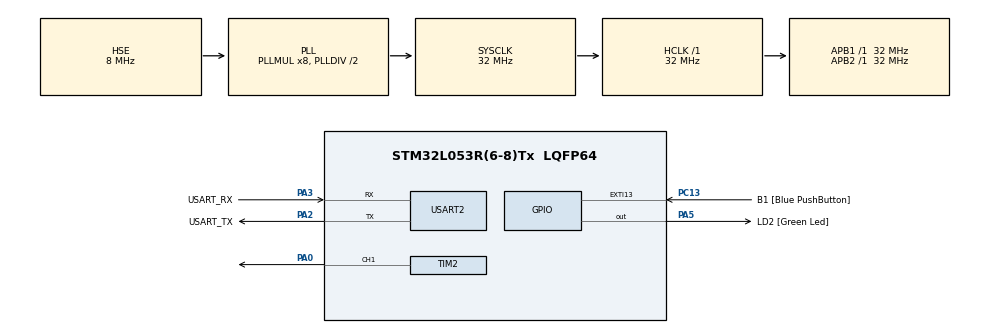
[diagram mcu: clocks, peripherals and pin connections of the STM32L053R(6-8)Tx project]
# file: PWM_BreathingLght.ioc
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Mcu.Family=STM32L0
Mcu.Name=STM32L053R(6-8)Tx
Mcu.Package=LQFP64
PA0.Signal=S_TIM2_CH1
PA13.GPIO_Label=TMS
PA13.Mode=Serial_Wire
PA13.Signal=SYS_SWDIO
PA14.GPIO_Label=TCK
PA14.Mode=Serial_Wire
PA14.Signal=SYS_SWCLK
PA2.GPIO_Label=USART_TX
PA2.Mode=Asynchronous
PA2.Signal=USART2_TX
PA3.GPIO_Label=USART_RX
PA3.Mode=Asynchronous
PA3.Signal=USART2_RX
PA5.GPIO_Label=LD2 [Green Led]
PA5.Signal=GPIO_Output
PC13.GPIO_Label=B1 [Blue PushButton]
PC13.GPIO_ModeDefaultEXTI=GPIO_MODE_IT_FALLING
PC13.Signal=GPXTI13
PC14-OSC32_IN.Signal=RCC_OSC32_IN
PC15-OSC32_OUT.Signal=RCC_OSC32_OUT
PH0-OSC_IN.Mode=HSE-External-Oscillator
PH0-OSC_IN.Signal=RCC_OSC_IN
PH1-OSC_OUT.Mode=HSE-External-Oscillator
PH1-OSC_OUT.Signal=RCC_OSC_OUT
ProjectManager.HeapSize=0x200
ProjectManager.StackSize=0x400
ProjectManager.TargetToolchain=MDK-ARM V5.32
RCC.AHBFreq_Value=32000000
RCC.APB1Freq_Value=32000000
RCC.APB1TimFreq_Value=32000000
RCC.APB2Freq_Value=32000000
RCC.APB2TimFreq_Value=32000000
RCC.HCLKFreq_Value=32000000
RCC.HSE_VALUE=8000000
RCC.HSI16_VALUE=16000000
RCC.HSI48_VALUE=48000000
RCC.HSI_VALUE=16000000
RCC.MSI_VALUE=2097000
RCC.PLLMUL=RCC_PLLMUL_8
RCC.PLLSourceVirtual=RCC_PLLSOURCE_HSE
RCC.SYSCLKFreq_VALUE=32000000
RCC.SYSCLKSource=RCC_SYSCLKSOURCE_PLLCLK
RCC.VCOOutputFreq_Value=64000000
SH.S_TIM2_CH1.0=TIM2_CH1,PWM Generation1 CH1
TIM2.Channel-PWM\ Generation1\ CH1=TIM_CHANNEL_1
TIM2.OC1Preload_PWM=ENABLE
TIM2.Period=1000-1
TIM2.Prescaler=32-1
TIM2.Pulse-PWM\ Generation1\ CH1=0
USART2.VirtualMode-Asynchronous=VM_ASYNC
VP_TIM2_VS_ClockSourceINT.Mode=Internal
board=NUCLEO-L053R8

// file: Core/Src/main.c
/* USER CODE BEGIN Header */
/**
  ******************************************************************************
  * @file           : main.c
  * @brief          : Main program body
  ******************************************************************************
  * @attention
  *
  * Copyright (c) 2023 STMicroelectronics.
  * All rights reserved.
  *
  * This software is licensed under terms that can be found in the LICENSE file
  * in the root directory of this software component.
  * If no LICENSE file comes with this software, it is provided AS-IS.
  *
  ******************************************************************************
  */
/* USER CODE END Header */
#include "main.h"

/* USER CODE BEGIN Includes */
#include "beep.h"
/* USER CODE END Includes */

TIM_HandleTypeDef htim2;

UART_HandleTypeDef huart2;

void SystemClock_Config(void);
static void MX_GPIO_Init(void);
static void MX_USART2_UART_Init(void);
static void MX_TIM2_Init(void);

int main(void)
{

  /* MCU Configuration--------------------------------------------------------*/

  /* Reset of all peripherals, Initializes the Flash interface and the Systick. */
  HAL_Init();

  /* Configure the system clock */
  SystemClock_Config();

  /* Initialize all configured peripherals */
  MX_GPIO_Init();
  MX_USART2_UART_Init();
  MX_TIM2_Init();
  /* USER CODE BEGIN 2 */

	 enum{
		DO = 262,
		RE = 294,
		MI = 330,
		FA = 349,
		SO = 392,
		LA = 440,
		SI = 493
	};

	uint16_t song[] = {DO,RE,MI,FA,SO,LA,SI,523};
	uint16_t speed[] = {500,300,300,800,1000,200,200,300};

	HAL_TIM_PWM_Start(&htim2, TIM_CHANNEL_1);
	uint16_t brightness = 0;
	__HAL_TIM_SET_COMPARE(&htim2, TIM_CHANNEL_1,50);

  /* USER CODE END 2 */

  /* Infinite loop */
  /* USER CODE BEGIN WHILE */
  while (1)
  {

		for(int i=0;i<sizeof(melody)/sizeof(melody[0]);i++){

		  htim2.Instance = TIM2;
			htim2.Init.Prescaler = (32000/melody[i])-1;
			while (HAL_TIM_Base_Init(&htim2) != HAL_OK);

			HAL_Delay(duration[i]);

		}

    /* USER CODE END WHILE */

  }
}

void SystemClock_Config(void)
{
  RCC_OscInitTypeDef RCC_OscInitStruct = {0};
  RCC_ClkInitTypeDef RCC_ClkInitStruct = {0};
  RCC_PeriphCLKInitTypeDef PeriphClkInit = {0};

  /** Configure the main internal regulator output voltage
  */
  __HAL_PWR_VOLTAGESCALING_CONFIG(PWR_REGULATOR_VOLTAGE_SCALE1);

  /** Initializes the RCC Oscillators according to the specified parameters
  * in the RCC_OscInitTypeDef structure.
  */
  RCC_OscInitStruct.OscillatorType = RCC_OSCILLATORTYPE_HSE;
  RCC_OscInitStruct.HSEState = RCC_HSE_ON;
  RCC_OscInitStruct.PLL.PLLState = RCC_PLL_ON;
  RCC_OscInitStruct.PLL.PLLSource = RCC_PLLSOURCE_HSE;
  RCC_OscInitStruct.PLL.PLLMUL = RCC_PLLMUL_8;
  RCC_OscInitStruct.PLL.PLLDIV = RCC_PLLDIV_2;
  if (HAL_RCC_OscConfig(&RCC_OscInitStruct) != HAL_OK)
  {
    Error_Handler();
  }

  /** Initializes the CPU, AHB and APB buses clocks
  */
  RCC_ClkInitStruct.ClockType = RCC_CLOCKTYPE_HCLK|RCC_CLOCKTYPE_SYSCLK
                              |RCC_CLOCKTYPE_PCLK1|RCC_CLOCKTYPE_PCLK2;
  RCC_ClkInitStruct.SYSCLKSource = RCC_SYSCLKSOURCE_PLLCLK;
  RCC_ClkInitStruct.AHBCLKDivider = RCC_SYSCLK_DIV1;
  RCC_ClkInitStruct.APB1CLKDivider = RCC_HCLK_DIV1;
  RCC_ClkInitStruct.APB2CLKDivider = RCC_HCLK_DIV1;

  if (HAL_RCC_ClockConfig(&RCC_ClkInitStruct, FLASH_LATENCY_1) != HAL_OK)
  {
    Error_Handler();
  }
  PeriphClkInit.PeriphClockSelection = RCC_PERIPHCLK_USART2;
  PeriphClkInit.Usart2ClockSelection = RCC_USART2CLKSOURCE_PCLK1;
  if (HAL_RCCEx_PeriphCLKConfig(&PeriphClkInit) != HAL_OK)
  {
    Error_Handler();
  }
}

static void MX_TIM2_Init(void)
{

  TIM_ClockConfigTypeDef sClockSourceConfig = {0};
  TIM_MasterConfigTypeDef sMasterConfig = {0};
  TIM_OC_InitTypeDef sConfigOC = {0};

  htim2.Instance = TIM2;
  htim2.Init.Prescaler = 32-1;
  htim2.Init.CounterMode = TIM_COUNTERMODE_UP;
	//               ccr=  500  pwm =1000/500 =50%
  htim2.Init.Period = 1000-1;
  htim2.Init.ClockDivision = TIM_CLOCKDIVISION_DIV1;
  htim2.Init.AutoReloadPreload = TIM_AUTORELOAD_PRELOAD_DISABLE;
  if (HAL_TIM_Base_Init(&htim2) != HAL_OK)
  {
    Error_Handler();
  }
  sClockSourceConfig.ClockSource = TIM_CLOCKSOURCE_INTERNAL;
  if (HAL_TIM_ConfigClockSource(&htim2, &sClockSourceConfig) != HAL_OK)
  {
    Error_Handler();
  }
  if (HAL_TIM_PWM_Init(&htim2) != HAL_OK)
  {
    Error_Handler();
  }
  sMasterConfig.MasterOutputTrigger = TIM_TRGO_RESET;
  sMasterConfig.MasterSlaveMode = TIM_MASTERSLAVEMODE_DISABLE;
  if (HAL_TIMEx_MasterConfigSynchronization(&htim2, &sMasterConfig) != HAL_OK)
  {
    Error_Handler();
  }
  sConfigOC.OCMode = TIM_OCMODE_PWM1;
  sConfigOC.Pulse = 0;
  sConfigOC.OCPolarity = TIM_OCPOLARITY_HIGH;
  sConfigOC.OCFastMode = TIM_OCFAST_DISABLE;
  if (HAL_TIM_PWM_ConfigChannel(&htim2, &sConfigOC, TIM_CHANNEL_1) != HAL_OK)
  {
    Error_Handler();
  }
  HAL_TIM_MspPostInit(&htim2);

}

static void MX_USART2_UART_Init(void)
{

  huart2.Instance = USART2;
  huart2.Init.BaudRate = 115200;
  huart2.Init.WordLength = UART_WORDLENGTH_8B;
  huart2.Init.StopBits = UART_STOPBITS_1;
  huart2.Init.Parity = UART_PARITY_NONE;
  huart2.Init.Mode = UART_MODE_TX_RX;
  huart2.Init.HwFlowCtl = UART_HWCONTROL_NONE;
  huart2.Init.OverSampling = UART_OVERSAMPLING_16;
  huart2.Init.OneBitSampling = UART_ONE_BIT_SAMPLE_DISABLE;
  huart2.AdvancedInit.AdvFeatureInit = UART_ADVFEATURE_NO_INIT;
  if (HAL_UART_Init(&huart2) != HAL_OK)
  {
    Error_Handler();
  }

}

static void MX_GPIO_Init(void)
{
  GPIO_InitTypeDef GPIO_InitStruct = {0};

  /* GPIO Ports Clock Enable */
  __HAL_RCC_GPIOC_CLK_ENABLE();
  __HAL_RCC_GPIOH_CLK_ENABLE();
  __HAL_RCC_GPIOA_CLK_ENABLE();

  /*Configure GPIO pin Output Level */
  HAL_GPIO_WritePin(LD2_GPIO_Port, LD2_Pin, GPIO_PIN_RESET);

  /*Configure GPIO pin : B1_Pin */
  GPIO_InitStruct.Pin = B1_Pin;
  GPIO_InitStruct.Mode = GPIO_MODE_IT_FALLING;
  GPIO_InitStruct.Pull = GPIO_NOPULL;
  HAL_GPIO_Init(B1_GPIO_Port, &GPIO_InitStruct);

  /*Configure GPIO pin : LD2_Pin */
  GPIO_InitStruct.Pin = LD2_Pin;
  GPIO_InitStruct.Mode = GPIO_MODE_OUTPUT_PP;
  GPIO_InitStruct.Pull = GPIO_NOPULL;
  GPIO_InitStruct.Speed = GPIO_SPEED_FREQ_LOW;
  HAL_GPIO_Init(LD2_GPIO_Port, &GPIO_InitStruct);

}

void Error_Handler(void)
{
  __disable_irq();
  while (1)
  {
  }
}
